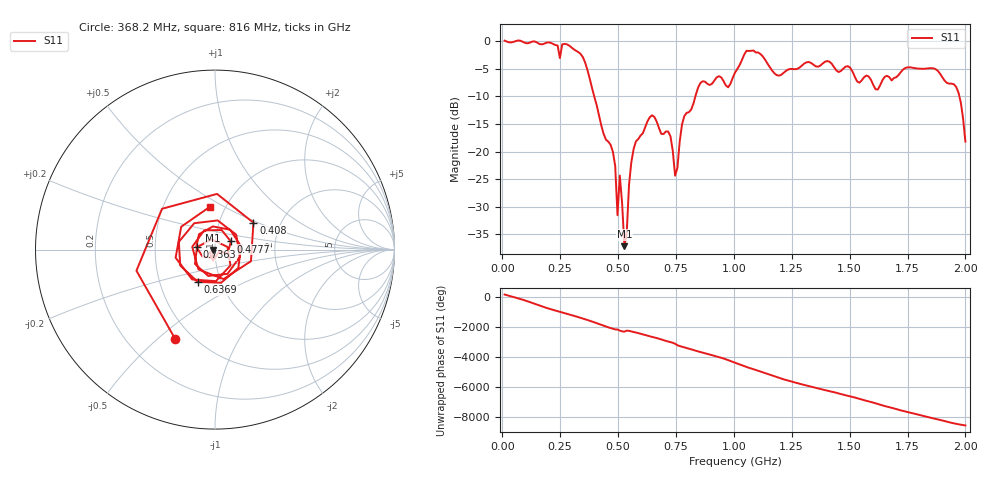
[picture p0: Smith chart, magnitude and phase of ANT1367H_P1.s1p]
!Created with skrf (http://scikit-rf.org).
# Hz S RI R 50.0
!freq ReS11 ImS11
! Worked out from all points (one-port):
!   201 points, 10 MHz to 2 GHz, reference 50 ohm
!   lowest |S11| = -37.2 dB at 527.4 MHz (marker M1), VSWR 1.03, Z = 48.7 - j0.272 ohm
!   |S11| at or under -10 dB: 397 MHz to 833.9 MHz (436.9 MHz wide, 71 % of centre); 1.974 GHz to end of sweep
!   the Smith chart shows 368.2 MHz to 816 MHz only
!   S11 on the Smith chart (normalised r, x): 368.2 MHz: 0.40, -0.57; 408 MHz: 1.46, +0.47; 477.6 MHz: 1.19, +0.11; 636.9 MHz: 0.78, -0.29; 736.4 MHz: 0.82, +0.02; 816 MHz: 0.85, +0.43
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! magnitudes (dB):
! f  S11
! 10 MHz  0.1
! 248.8 MHz  -3.0
! 258.8 MHz  -0.6
! 368.2 MHz  -5.3
! 408 MHz  -11.7
! 477.6 MHz  -20.0
! 487.6 MHz  -22.6
! 497.6 MHz  -31.6
! 507.5 MHz  -24.4
! 527.4 MHz  -37.2
! 537.4 MHz  -34.8
! 547.3 MHz  -26.1
! 567.2 MHz  -19.5
! 636.9 MHz  -13.8
! 736.4 MHz  -19.9
! 746.3 MHz  -24.4
! 756.2 MHz  -23.0
! 776.1 MHz  -15.1
! 816 MHz  -12.4
! 855.8 MHz  -7.6
! 1.005 GHz  -5.7
! 1.055 GHz  -1.7
! 1.254 GHz  -5.0
! 1.502 GHz  -4.8
! 1.622 GHz  -8.8
! 1.751 GHz  -4.7
! 1.96 GHz  -8.3
! 2 GHz  -18.2
